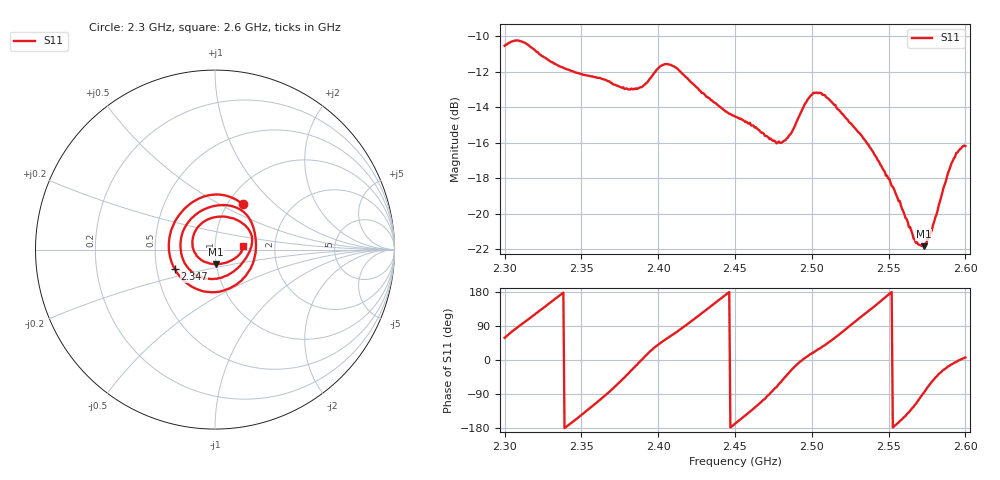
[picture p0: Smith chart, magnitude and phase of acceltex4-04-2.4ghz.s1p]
! NanoVNA-App
! Date: 2026-05-22 20:00:09
! Start: 2.3GHz Stop: 2.6GHz Points: 401
! S-Parameter data: F S11
# Hz S RI R 50
!  Frequency  S11_Real  S11_Imag
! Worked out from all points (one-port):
!   401 points, 2.3 GHz to 2.6 GHz, reference 50 ohm
!   lowest |S11| = -21.8 dB at 2.573 GHz (marker M1), VSWR 1.18, Z = 49.9 - j8.12 ohm
!   |S11| at or under -10 dB: start of sweep to end of sweep
!   S11 on the Smith chart (normalised r, x): 2.3 GHz: 1.17, +0.65; 2.347 GHz: 0.62, -0.14; 2.6 GHz: 1.36, +0.05
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2.3e9  0.1549 0.2535
2.3075e9  0.0362 0.3052
2.315e9  -0.0834 0.2874
2.327e9  -0.218 0.1656
2.3375e9  -0.2578 0.0206
2.34725e9  -0.2243 -0.109
2.36225e9  -0.0602 -0.2335
2.375e9  0.1208 -0.193
2.384e9  0.2097 -0.0811
2.39225e9  0.2273 0.0525
2.40275e9  0.1732 0.1968
2.4125e9  0.0645 0.2476
2.42225e9  -0.0578 0.2256
2.43275e9  -0.1552 0.1442
2.45e9  -0.184 -0.0384
2.4605e9  -0.1228 -0.1277
2.4695e9  -0.0355 -0.1619
2.4785e9  0.0705 -0.1433
2.4875e9  0.1577 -0.0672
2.4965e9  0.2043 0.0292
2.504e9  0.193 0.1023
2.51525e9  0.1041 0.1737
2.525e9  -0.00242 0.1802
2.54375e9  -0.1233 0.0669
2.5625e9  -0.0728 -0.0606
2.573e9  0.00547 -0.0808
2.591e9  0.136 -0.0278
2.6e9  0.154 0.0181
